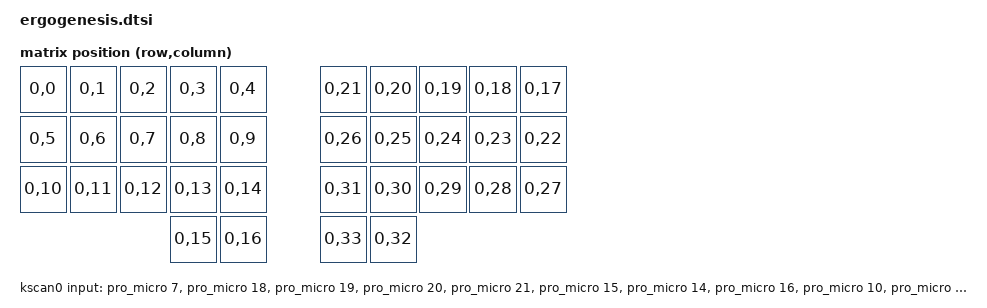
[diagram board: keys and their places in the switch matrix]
/*
https://github.com/zmkfirmware/zmk/blob/main/app/boards/shields/cradio/cradio.dtsi
https://github.com/auryn31/avocado/blob/main/config/boards/shields/avocado/avocado.dtsi
*/

/*
 * Copyright (c) 2020 The ZMK Contributors
 *
 * SPDX-License-Identifier: MIT
 */

#include <dt-bindings/zmk/matrix_transform.h>
// https://github.com/zmkfirmware/zmk/blob/4ec69cb7e658590adf6354027aca789b364a70c5/app/dts/layouts/cuddlykeyboards/ferris.dtsi#L4
// https://github.com/zmkfirmware/zmk/blob/4ec69cb7e658590adf6354027aca789b364a70c5/app/dts/physical_layouts.dtsi

#include <layouts/cuddlykeyboards/ferris.dtsi>

&cuddlykeyboards_ferris_layout {
    transform = <&default_transform>;
};

/ {
    chosen {
        zmk,kscan = &kscan0;
    };

    default_transform: keymap_transform_0 {
        compatible = "zmk,matrix-transform";
        // 36!
        columns = <34>;
        rows = <1>;
        map = <
        RC(0,0)  RC(0,1)  RC(0,2)  RC(0,3)  RC(0,4)    RC(0,21) RC(0,20) RC(0,19) RC(0,18) RC(0,17)
        RC(0,5)  RC(0,6)  RC(0,7)  RC(0,8)  RC(0,9)    RC(0,26) RC(0,25) RC(0,24) RC(0,23) RC(0,22)
        RC(0,10) RC(0,11) RC(0,12) RC(0,13) RC(0,14)   RC(0,31) RC(0,30) RC(0,29) RC(0,28) RC(0,27)
                                   RC(0,15) RC(0,16)   RC(0,33) RC(0,32)
        >;
    };

//         columns = <10>;
//         rows = <4>;
// // | SW1  | SW2  | SW3  | SW4  | SW5  |   | SW5  | SW4  | SW3  | SW2  | SW1  |
// // | SW6  | SW7  | SW8  | SW9  | SW10 |   | SW10 | SW9  | SW8  | SW7  | SW6  |
// // | SW11 | SW12 | SW13 | SW14 | SW15 |   | SW15 | SW14 | SW13 | SW12 | SW11 |
// //               | SW16 | SW17 | SW18 |   | SW18 | SW17 | SW16 |
//         map = <
// RC(0,0) RC(0,1) RC(0,2) RC(0,3) RC(0,4)    RC(0,5) RC(0,6) RC(0,7) RC(0,8) RC(0,9)
// RC(1,0) RC(1,1) RC(1,2) RC(1,3) RC(1,4)    RC(1,5) RC(1,6) RC(1,7) RC(1,8) RC(1,9)
// RC(2,0) RC(2,1) RC(2,2) RC(2,3) RC(2,4)    RC(2,5) RC(2,6) RC(2,7) RC(2,8) RC(2,9)
//                 RC(3,2) RC(3,3) RC(3,4)    RC(3,5) RC(3,6) RC(3,7)
//         >;

    kscan0: kscan {
        compatible = "zmk,kscan-gpio-direct";
        wakeup-source;

        input-gpios
        = <&pro_micro  7 (GPIO_ACTIVE_LOW | GPIO_PULL_UP)>
        , <&pro_micro 18 (GPIO_ACTIVE_LOW | GPIO_PULL_UP)>
        , <&pro_micro 19 (GPIO_ACTIVE_LOW | GPIO_PULL_UP)>
        , <&pro_micro 20 (GPIO_ACTIVE_LOW | GPIO_PULL_UP)>
        , <&pro_micro 21 (GPIO_ACTIVE_LOW | GPIO_PULL_UP)>
        , <&pro_micro 15 (GPIO_ACTIVE_LOW | GPIO_PULL_UP)>
        , <&pro_micro 14 (GPIO_ACTIVE_LOW | GPIO_PULL_UP)>
        , <&pro_micro 16 (GPIO_ACTIVE_LOW | GPIO_PULL_UP)>
        , <&pro_micro 10 (GPIO_ACTIVE_LOW | GPIO_PULL_UP)>
        , <&pro_micro  1 (GPIO_ACTIVE_LOW | GPIO_PULL_UP)>
        , <&pro_micro  2 (GPIO_ACTIVE_LOW | GPIO_PULL_UP)>
        , <&pro_micro  3 (GPIO_ACTIVE_LOW | GPIO_PULL_UP)>
        , <&pro_micro  4 (GPIO_ACTIVE_LOW | GPIO_PULL_UP)>
        , <&pro_micro  5 (GPIO_ACTIVE_LOW | GPIO_PULL_UP)>
        , <&pro_micro  6 (GPIO_ACTIVE_LOW | GPIO_PULL_UP)>
        , <&pro_micro  8 (GPIO_ACTIVE_LOW | GPIO_PULL_UP)>
        , <&pro_micro  9 (GPIO_ACTIVE_LOW | GPIO_PULL_UP)>
        ;
    };

};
